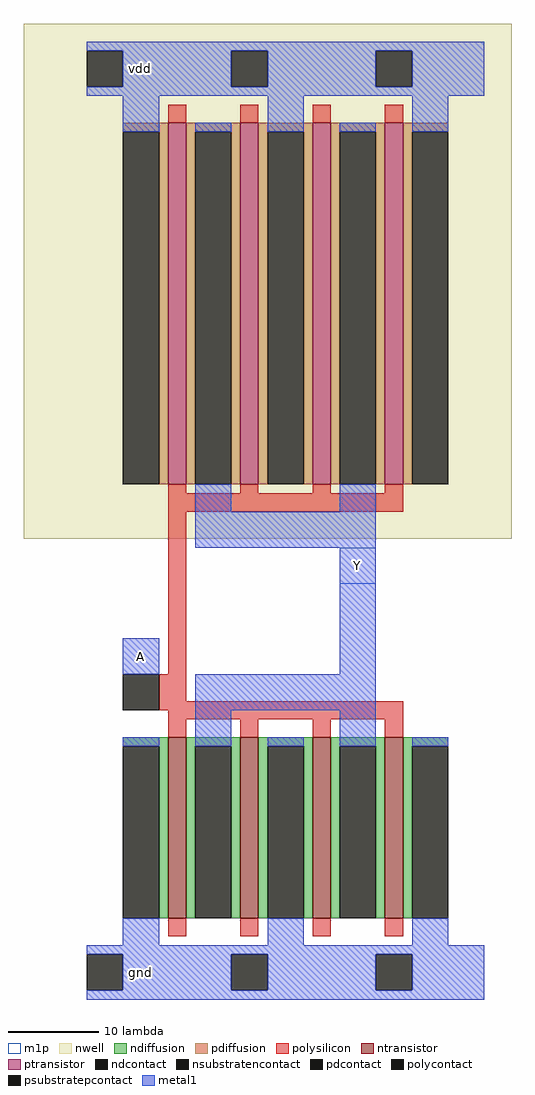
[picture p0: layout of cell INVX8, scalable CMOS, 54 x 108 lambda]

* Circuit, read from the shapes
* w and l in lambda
.subckt INVX8 A Y gnd vdd
M1 Y A gnd gnd nfet w=20 l=2 m=4
M2 Y A vdd vdd pfet w=40 l=2 m=4
.ends

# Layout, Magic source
magic
tech scmos
<< nwell >>
rect -9 48 45 105
<< ntransistor >>
rect 7 6 9 26
rect 15 6 17 26
rect 23 6 25 26
rect 31 6 33 26
<< ptransistor >>
rect 7 54 9 94
rect 15 54 17 94
rect 23 54 25 94
rect 31 54 33 94
<< ndiffusion >>
rect 2 25 7 26
rect 6 6 7 25
rect 9 25 15 26
rect 9 6 10 25
rect 14 6 15 25
rect 17 25 23 26
rect 17 6 18 25
rect 22 6 23 25
rect 25 25 31 26
rect 25 6 26 25
rect 30 6 31 25
rect 33 25 38 26
rect 33 6 34 25
<< pdiffusion >>
rect 2 93 7 94
rect 6 54 7 93
rect 9 93 15 94
rect 9 54 10 93
rect 14 54 15 93
rect 17 93 23 94
rect 17 54 18 93
rect 22 54 23 93
rect 25 93 31 94
rect 25 54 26 93
rect 30 54 31 93
rect 33 93 38 94
rect 33 54 34 93
<< ndcontact >>
rect 2 6 6 25
rect 10 6 14 25
rect 18 6 22 25
rect 26 6 30 25
rect 34 6 38 25
<< pdcontact >>
rect 2 54 6 93
rect 10 54 14 93
rect 18 54 22 93
rect 26 54 30 93
rect 34 54 38 93
<< psubstratepcontact >>
rect -2 -2 2 2
rect 14 -2 18 2
rect 30 -2 34 2
<< nsubstratencontact >>
rect -2 98 2 102
rect 14 98 18 102
rect 30 98 34 102
<< polysilicon >>
rect 7 94 9 96
rect 15 94 17 96
rect 23 94 25 96
rect 31 94 33 96
rect 7 53 9 54
rect 15 53 17 54
rect 23 53 25 54
rect 31 53 33 54
rect 7 51 33 53
rect 7 33 9 51
rect 6 30 9 33
rect 6 29 33 30
rect 7 28 33 29
rect 7 26 9 28
rect 15 26 17 28
rect 23 26 25 28
rect 31 26 33 28
rect 7 4 9 6
rect 15 4 17 6
rect 23 4 25 6
rect 31 4 33 6
<< polycontact >>
rect 2 29 6 33
<< metal1 >>
rect -2 102 42 103
rect 2 98 14 102
rect 18 98 30 102
rect 34 98 42 102
rect -2 97 42 98
rect 2 93 6 97
rect 10 93 14 94
rect 18 93 22 97
rect 26 93 30 94
rect 34 93 38 97
rect 10 51 14 54
rect 26 51 30 54
rect 10 47 30 51
rect 2 33 6 37
rect 26 33 30 47
rect 10 29 30 33
rect 2 25 6 26
rect 10 25 14 29
rect 18 25 22 26
rect 26 25 30 29
rect 34 25 38 26
rect 2 3 6 6
rect 18 3 22 6
rect 34 3 38 6
rect -2 2 42 3
rect 2 -2 14 2
rect 18 -2 30 2
rect 34 -2 42 2
rect -2 -3 42 -2
<< m1p >>
rect 26 43 30 47
rect 2 33 6 37
<< labels >>
rlabel metal1 4 100 4 100 4 vdd
rlabel metal1 4 0 4 0 4 gnd
rlabel metal1 4 35 4 35 4 A
rlabel metal1 28 45 28 45 4 Y
<< end >>
